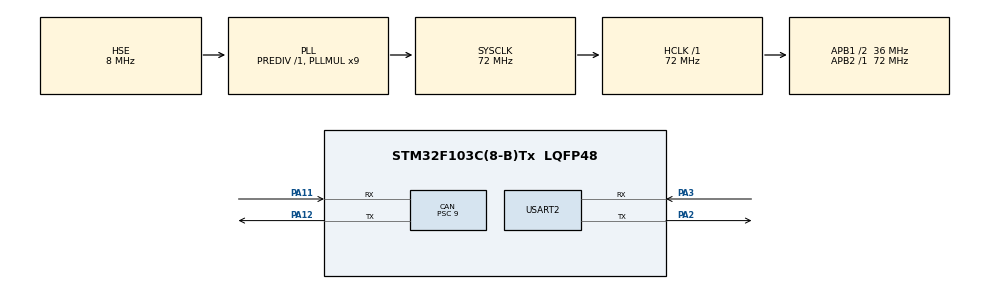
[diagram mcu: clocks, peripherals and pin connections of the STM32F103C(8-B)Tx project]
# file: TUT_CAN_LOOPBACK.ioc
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CAN.BS1=CAN_BS1_2TQ
CAN.BS2=CAN_BS2_1TQ
CAN.CalculateBaudRate=1000000
CAN.CalculateTimeBit=1000
CAN.CalculateTimeQuantum=250.0
CAN.Mode=CAN_MODE_LOOPBACK
CAN.Prescaler=9
Mcu.Family=STM32F1
Mcu.Name=STM32F103C(8-B)Tx
Mcu.Package=LQFP48
NVIC.CAN1_RX1_IRQn=true\:0\:0\:false\:false\:true\:true\:true\:true
NVIC.PriorityGroup=NVIC_PRIORITYGROUP_4
NVIC.USB_LP_CAN1_RX0_IRQn=true\:0\:0\:false\:false\:true\:true\:true\:true
PA11.Mode=CAN_Activate
PA11.Signal=CAN_RX
PA12.Mode=CAN_Activate
PA12.Signal=CAN_TX
PA13.Mode=Serial_Wire
PA13.Signal=SYS_JTMS-SWDIO
PA14.Mode=Serial_Wire
PA14.Signal=SYS_JTCK-SWCLK
PA2.Mode=Asynchronous
PA2.Signal=USART2_TX
PA3.Mode=Asynchronous
PA3.Signal=USART2_RX
PD0-OSC_IN.Mode=HSE-External-Oscillator
PD0-OSC_IN.Signal=RCC_OSC_IN
PD1-OSC_OUT.Mode=HSE-External-Oscillator
PD1-OSC_OUT.Signal=RCC_OSC_OUT
ProjectManager.HeapSize=0x200
ProjectManager.StackSize=0x400
ProjectManager.TargetToolchain=STM32CubeIDE
RCC.AHBFreq_Value=72000000
RCC.APB1CLKDivider=RCC_HCLK_DIV2
RCC.APB1Freq_Value=36000000
RCC.APB1TimFreq_Value=72000000
RCC.APB2Freq_Value=72000000
RCC.APB2TimFreq_Value=72000000
RCC.HCLKFreq_Value=72000000
RCC.PLLMUL=RCC_PLL_MUL9
RCC.PLLSourceVirtual=RCC_PLLSOURCE_HSE
RCC.SYSCLKFreq_VALUE=72000000
RCC.SYSCLKSource=RCC_SYSCLKSOURCE_PLLCLK
RCC.USBFreq_Value=72000000
USART2.VirtualMode=VM_ASYNC
board=custom

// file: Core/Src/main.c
/* USER CODE BEGIN Header */
/**
  ******************************************************************************
  * @file           : main.c
  * @brief          : Main program body
  ******************************************************************************
  * @attention
  *
  * <h2><center>&copy; Copyright (c) 2021 STMicroelectronics.
  * All rights reserved.</center></h2>
  *
  * This software component is licensed by ST under BSD 3-Clause license,
  * the "License"; You may not use this file except in compliance with the
  * License. You may obtain a copy of the License at:
  *                        opensource.org/licenses/BSD-3-Clause
  *
  ******************************************************************************
  */
/* USER CODE END Header */
#include "main.h"

CAN_HandleTypeDef hcan;

UART_HandleTypeDef huart2;

void SystemClock_Config(void);
static void MX_GPIO_Init(void);
static void MX_CAN_Init(void);
static void MX_USART2_UART_Init(void);

/* USER CODE BEGIN 0 */

CAN_TxHeaderTypeDef TxHeader;
CAN_RxHeaderTypeDef RxHeader;

uint32_t TxMailbox[4];

uint8_t TxData[8];
uint8_t RxData[8];
uint8_t message[35] = {'\0'};

uint8_t count = 0;

void HAL_CAN_RxFifo0MsgPendingCallback(CAN_HandleTypeDef *hcan)
{
	HAL_CAN_GetRxMessage(hcan, CAN_RX_FIFO0, &RxHeader, RxData);
	count++;
	sprintf(message, "1", RxData[0]);
	HAL_UART_Transmit(&huart2, (uint8_t *)message, sizeof(message), 1000);
}
/* USER CODE END 0 */

int main(void)
{

  /* MCU Configuration--------------------------------------------------------*/

  /* Reset of all peripherals, Initializes the Flash interface and the Systick. */
  HAL_Init();

  /* Configure the system clock */
  SystemClock_Config();

  /* Initialize all configured peripherals */
  MX_GPIO_Init();
  MX_CAN_Init();
  MX_USART2_UART_Init();
  /* USER CODE BEGIN 2 */

  HAL_CAN_Start(&hcan);

  HAL_CAN_ActivateNotification(&hcan, CAN_IT_RX_FIFO0_MSG_PENDING);

  TxHeader.DLC = 8;
  TxHeader.ExtId = 0;
  TxHeader.IDE = CAN_ID_STD;
  TxHeader.RTR = CAN_RTR_DATA;
  TxHeader.StdId = 0x181;
  TxHeader.TransmitGlobalTime = DISABLE;

  TxData[0] = 0x01;
  TxData[1] = 0x02;
  TxData[2] = 0x03;
  TxData[3] = 0x04;
  TxData[4] = 0x05;
  TxData[5] = 0x06;
  TxData[6] = 0x07;
  TxData[7] = 0x08;

  HAL_CAN_AddTxMessage(&hcan, &TxHeader, &TxData[0], &TxMailbox[0]);

		  /*!= HAL_OK)
  {
	  Error_Handler();
  }
  if (HAL_CAN_AddTxMessage(&hcan, &TxHeader, &TxData[1], &TxMailbox[1]) != HAL_OK)
  {
	  Error_Handler();
  }
  if (HAL_CAN_AddTxMessage(&hcan, &TxHeader, &TxData[2], &TxMailbox[2]) != HAL_OK)
  {
	  Error_Handler();
  }*/

  /*  only 3 mainboxes to use 4th onw qill bring the error
  if (HAL_CAN_AddTxMessage(&hcan, &TxHeader, &TxData[3], &TxMailbox[3]) != HAL_OK)
  {
	  Error_Handler();
  }*/

  /* USER CODE END 2 */

  /* Infinite loop */
  while (1)
  {

    /* USER CODE BEGIN 3 */
	 TxData[0] = count;
	 HAL_CAN_AddTxMessage(&hcan, &TxHeader, &TxData[0], &TxMailbox[0]);
     HAL_Delay(1000);
  }
  /* USER CODE END 3 */
}

void SystemClock_Config(void)
{
  RCC_OscInitTypeDef RCC_OscInitStruct = {0};
  RCC_ClkInitTypeDef RCC_ClkInitStruct = {0};

  /** Initializes the RCC Oscillators according to the specified parameters
  * in the RCC_OscInitTypeDef structure.
  */
  RCC_OscInitStruct.OscillatorType = RCC_OSCILLATORTYPE_HSE;
  RCC_OscInitStruct.HSEState = RCC_HSE_ON;
  RCC_OscInitStruct.HSEPredivValue = RCC_HSE_PREDIV_DIV1;
  RCC_OscInitStruct.HSIState = RCC_HSI_ON;
  RCC_OscInitStruct.PLL.PLLState = RCC_PLL_ON;
  RCC_OscInitStruct.PLL.PLLSource = RCC_PLLSOURCE_HSE;
  RCC_OscInitStruct.PLL.PLLMUL = RCC_PLL_MUL9;
  if (HAL_RCC_OscConfig(&RCC_OscInitStruct) != HAL_OK)
  {
    Error_Handler();
  }
  /** Initializes the CPU, AHB and APB buses clocks
  */
  RCC_ClkInitStruct.ClockType = RCC_CLOCKTYPE_HCLK|RCC_CLOCKTYPE_SYSCLK
                              |RCC_CLOCKTYPE_PCLK1|RCC_CLOCKTYPE_PCLK2;
  RCC_ClkInitStruct.SYSCLKSource = RCC_SYSCLKSOURCE_PLLCLK;
  RCC_ClkInitStruct.AHBCLKDivider = RCC_SYSCLK_DIV1;
  RCC_ClkInitStruct.APB1CLKDivider = RCC_HCLK_DIV2;
  RCC_ClkInitStruct.APB2CLKDivider = RCC_HCLK_DIV1;

  if (HAL_RCC_ClockConfig(&RCC_ClkInitStruct, FLASH_LATENCY_2) != HAL_OK)
  {
    Error_Handler();
  }
}

static void MX_CAN_Init(void)
{

  hcan.Instance = CAN1;
  hcan.Init.Prescaler = 9;
  hcan.Init.Mode = CAN_MODE_LOOPBACK;
  hcan.Init.SyncJumpWidth = CAN_SJW_1TQ;
  hcan.Init.TimeSeg1 = CAN_BS1_2TQ;
  hcan.Init.TimeSeg2 = CAN_BS2_1TQ;
  hcan.Init.TimeTriggeredMode = DISABLE;
  hcan.Init.AutoBusOff = DISABLE;
  hcan.Init.AutoWakeUp = DISABLE;
  hcan.Init.AutoRetransmission = DISABLE;
  hcan.Init.ReceiveFifoLocked = DISABLE;
  hcan.Init.TransmitFifoPriority = DISABLE;
  if (HAL_CAN_Init(&hcan) != HAL_OK)
  {
    Error_Handler();
  }
  /* USER CODE BEGIN CAN_Init 2 */

  CAN_FilterTypeDef canfilterconfig;

  canfilterconfig.FilterActivation = CAN_FILTER_ENABLE;
  canfilterconfig.FilterBank = 10;  // anything between 0 to SlaveStartFilterBank
  canfilterconfig.FilterFIFOAssignment = CAN_RX_FIFO0;
  canfilterconfig.FilterIdHigh = 0;
  canfilterconfig.FilterIdLow = 0x0000;
  canfilterconfig.FilterMaskIdHigh = 0;
  canfilterconfig.FilterMaskIdLow = 0x0000;
  canfilterconfig.FilterMode = CAN_FILTERMODE_IDMASK;
  canfilterconfig.FilterScale = CAN_FILTERSCALE_32BIT;
  canfilterconfig.SlaveStartFilterBank = 13;  // 13 to 27 are assigned to slave CAN (CAN 2) OR 0 to 12 are assgned to CAN1

  HAL_CAN_ConfigFilter(&hcan, &canfilterconfig);

  /* USER CODE END CAN_Init 2 */

}

static void MX_USART2_UART_Init(void)
{

  huart2.Instance = USART2;
  huart2.Init.BaudRate = 115200;
  huart2.Init.WordLength = UART_WORDLENGTH_8B;
  huart2.Init.StopBits = UART_STOPBITS_1;
  huart2.Init.Parity = UART_PARITY_NONE;
  huart2.Init.Mode = UART_MODE_TX_RX;
  huart2.Init.HwFlowCtl = UART_HWCONTROL_NONE;
  huart2.Init.OverSampling = UART_OVERSAMPLING_16;
  if (HAL_UART_Init(&huart2) != HAL_OK)
  {
    Error_Handler();
  }

}

static void MX_GPIO_Init(void)
{

  /* GPIO Ports Clock Enable */
  __HAL_RCC_GPIOD_CLK_ENABLE();
  __HAL_RCC_GPIOA_CLK_ENABLE();

}

void Error_Handler(void)
{
  __disable_irq();
  while (1)
  {
  }
}

/************************ (C) COPYRIGHT STMicroelectronics *****END OF FILE****/
